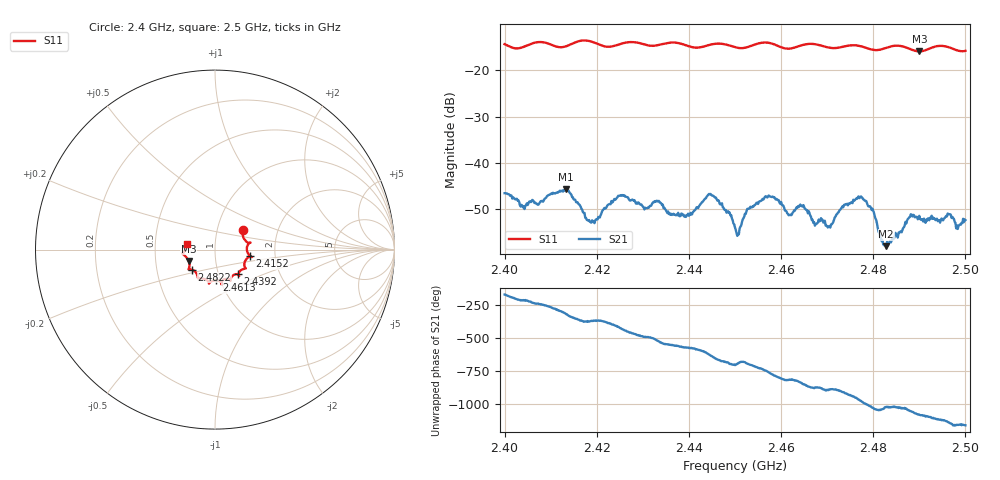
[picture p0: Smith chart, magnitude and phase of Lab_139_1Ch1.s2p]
# Hz S RI R 50
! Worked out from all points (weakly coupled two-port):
!   601 points, 2.4 GHz to 2.5 GHz, reference 50 ohm
!   highest |S21| = -45.65 dB at 2.4133 GHz (marker M1); lowest = -58.0 dB at 2.4828 GHz (marker M2)
!   lowest |S11| = -15.9 dB at 2.49 GHz (marker M3), VSWR 1.38, Z = 36.9 - j4.84 ohm
!   |S11| at or under -10 dB: start of sweep to end of sweep
!   S12 and S22 are empty: the file has one direction only
!   S11 on the Smith chart (normalised r, x): 2.4 GHz: 1.33, +0.31; 2.4152 GHz: 1.48, -0.11; 2.4392 GHz: 1.23, -0.35; 2.4613 GHz: 0.96, -0.34; 2.4822 GHz: 0.76, -0.17; 2.5 GHz: 0.73, +0.05
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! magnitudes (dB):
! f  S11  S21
! 2.4 GHz  -14.4  -46.5
! 2.404 GHz  -15.0  -49.6
! 2.4133 GHz  -14.8  -45.6
! 2.4152 GHz  -14.1  -47.9
! 2.4167 GHz  -13.6  -49.9
! 2.419 GHz  -13.9  -52.4
! 2.4252 GHz  -14.3  -47.0
! 2.4333 GHz  -14.6  -48.2
! 2.4392 GHz  -14.6  -51.4
! 2.4448 GHz  -14.4  -46.9
! 2.45 GHz  -15.0  -54.0
! 2.457 GHz  -14.0  -47.5
! 2.4613 GHz  -15.3  -50.9
! 2.4667 GHz  -14.3  -52.4
! 2.4705 GHz  -15.1  -53.7
! 2.4772 GHz  -14.8  -47.4
! 2.4798 GHz  -15.6  -49.9
! 2.4822 GHz  -15.4  -57.6
! 2.4828 GHz  -15.2  -58.0
! 2.4833 GHz  -15.0  -57.6
! 2.49 GHz  -15.9  -51.4
! 2.5 GHz  -15.8  -52.3
